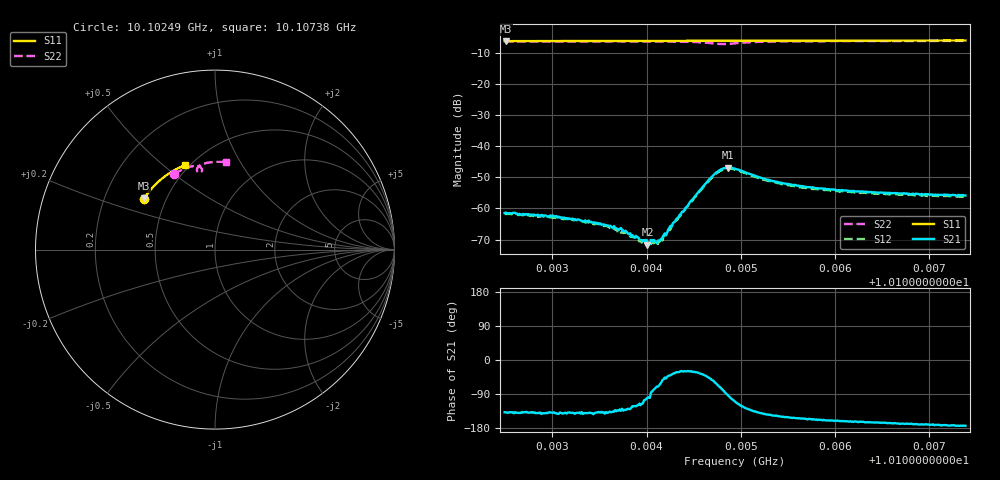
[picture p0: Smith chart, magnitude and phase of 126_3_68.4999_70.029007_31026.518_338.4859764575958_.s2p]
#  HZ  S  RI  R  50.00
! Rohde & Schwarz Vector Network Analyzer
! Rohde-Schwarz,ZNB20-2Port,1311601062101988,3.16
! Created: UTC 3/20/2024, 4:54:11 PM
! freq[Hz]  re:S11  im:S11  re:S21  im:S21  re:S12  im:S12  re:S22  im:S22
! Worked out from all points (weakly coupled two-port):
!   401 points, 10.10249 GHz to 10.10738 GHz, reference 50 ohm
!   highest |S21| = -46.88 dB at 10.10486 GHz (marker M1); lowest = -71.6 dB at 10.10401 GHz (marker M2)
!   lowest |S11| = -6.3 dB at 10.10251 GHz (marker M3), VSWR 2.90, Z = 18.8 + j14.1 ohm
!   |S11| at or under -10 dB: nowhere
!   |S22| runs from -7.2 to -6.2 dB; largest |S21 - S12| = 0.00049
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1.0102494e10  -0.3952 0.2842  -0.000625 -0.000566  -0.000534 -0.000593  -0.2276 0.4217
1.0102506e10  -0.3947 0.2849  -0.000639 -0.000575  -0.000569 -0.000594  -0.2269 0.4223
1.0102995e10  -0.3779 0.3093  -0.000555 -0.000485  -0.000502 -0.000506  -0.1985 0.4377
1.0103312e10  -0.366 0.3246  -0.000465 -0.00043  -0.000457 -0.000422  -0.1791 0.4468
1.0103557e10  -0.3565 0.3359  -0.000427 -0.00034  -0.000362 -0.000393  -0.1636 0.4532
1.010374e10  -0.3491 0.3445  -0.000286 -0.000358  -0.000258 -0.000344  -0.1513 0.4576
1.0104009e10  -0.3382 0.3564  -4.25e-05 -0.000258  -2.2e-05 -0.000284  -0.1324 0.463
1.010407e10  -0.3354 0.3591  5.64e-05 -0.000312  6.88e-05 -0.000277  -0.1277 0.464
1.0104131e10  -0.3328 0.3617  0.000116 -0.000283  0.000154 -0.000251  -0.1228 0.4651
1.0104143e10  -0.3324 0.3622  0.00014 -0.000279  0.000145 -0.000257  -0.1219 0.4652
1.0104192e10  -0.3302 0.3643  0.000276 -0.000288  0.000288 -0.000243  -0.1179 0.4659
1.0104265e10  -0.3271 0.3674  0.0004 -0.000317  0.000438 -0.000281  -0.1115 0.4664
1.0104485e10  -0.3172 0.3765  0.00118 -0.000725  0.00118 -0.000576  -0.09 0.4641
1.0104669e10  -0.309 0.3839  0.002 -0.00222  0.00207 -0.00198  -0.0731 0.4483
1.0104766e10  -0.3045 0.3876  0.00145 -0.00376  0.0017 -0.00348  -0.0763 0.4332
1.0104864e10  -0.3001 0.3913  -0.000306 -0.00452  0.000111 -0.00434  -0.0916 0.4299
1.0104937e10  -0.2967 0.3942  -0.00147 -0.00409  -0.00109 -0.00405  -0.0995 0.4381
1.0105206e10  -0.2841 0.4045  -0.00241 -0.002  -0.0021 -0.00213  -0.0884 0.4666
1.0105341e10  -0.2775 0.4094  -0.00228 -0.00151  -0.00207 -0.00167  -0.0777 0.4731
1.0105756e10  -0.257 0.4238  -0.00201 -0.000852  -0.00183 -0.001  -0.0466 0.4829
1.0106575e10  -0.2143 0.449  -0.00171 -0.000424  -0.00157 -0.000542  0.00936 0.4888
1.0107381e10  -0.1699 0.4694  -0.0016 -0.000176  -0.00151 -0.000303  0.0623 0.4873
